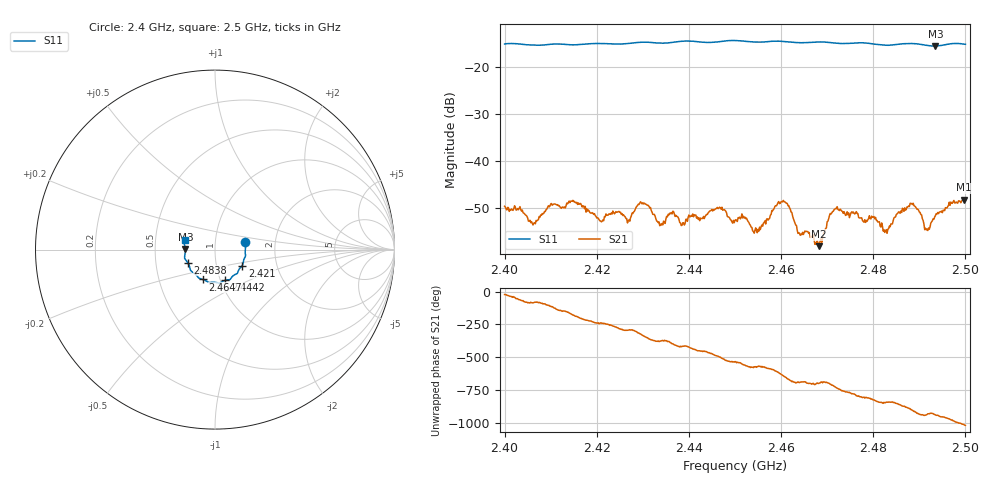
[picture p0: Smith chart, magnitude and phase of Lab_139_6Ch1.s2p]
# Hz S RI R
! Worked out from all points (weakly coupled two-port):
!   601 points, 2.4 GHz to 2.5 GHz, reference 50 ohm
!   highest |S21| = -48.30 dB at 2.4997 GHz (marker M1); lowest = -58.2 dB at 2.4682 GHz (marker M2)
!   lowest |S11| = -15.6 dB at 2.4935 GHz (marker M3), VSWR 1.40, Z = 35.8 + j0.19 ohm
!   |S11| at or under -10 dB: start of sweep to end of sweep
!   S12 and S22 are empty: the file has one direction only
!   S11 on the Smith chart (normalised r, x): 2.4 GHz: 1.40, +0.12; 2.421 GHz: 1.33, -0.24; 2.4442 GHz: 1.05, -0.37; 2.4647 GHz: 0.83, -0.28; 2.4838 GHz: 0.73, -0.11; 2.5 GHz: 0.71, +0.08
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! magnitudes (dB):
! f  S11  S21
! 2.4 GHz  -15.2  -49.7
! 2.4062 GHz  -15.5  -53.7
! 2.4103 GHz  -15.2  -49.5
! 2.4167 GHz  -15.3  -49.5
! 2.421 GHz  -15.1  -53.0
! 2.4298 GHz  -14.8  -49.2
! 2.4333 GHz  -15.0  -53.2
! 2.4442 GHz  -14.9  -51.1
! 2.45 GHz  -14.5  -52.7
! 2.4547 GHz  -14.8  -54.9
! 2.4605 GHz  -14.7  -48.5
! 2.4647 GHz  -14.9  -55.3
! 2.4667 GHz  -14.8  -56.1
! 2.4682 GHz  -14.8  -58.2
! 2.472 GHz  -15.0  -50.2
! 2.4833 GHz  -15.5  -54.5
! 2.4838 GHz  -15.5  -53.5
! 2.4882 GHz  -15.1  -49.1
! 2.4917 GHz  -15.5  -54.6
! 2.4935 GHz  -15.6  -51.7
! 2.4997 GHz  -15.2  -48.3
! 2.5 GHz  -15.3  -48.4
